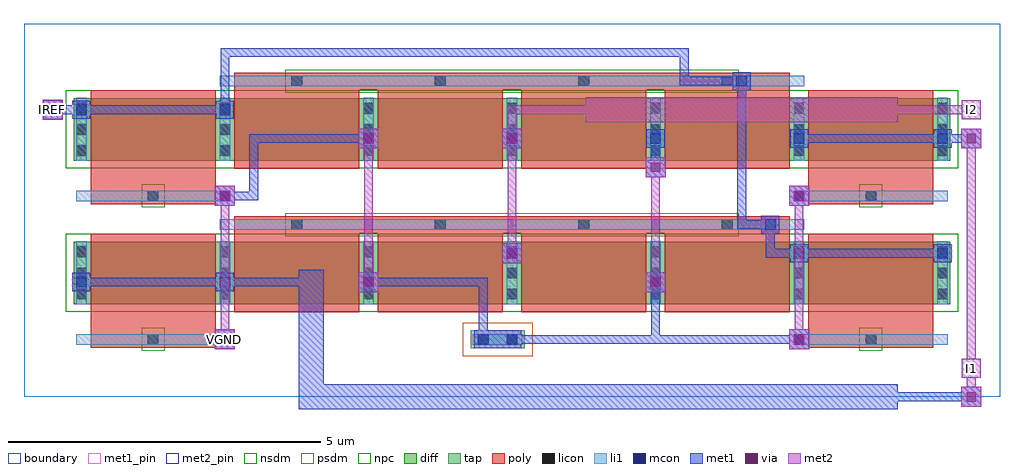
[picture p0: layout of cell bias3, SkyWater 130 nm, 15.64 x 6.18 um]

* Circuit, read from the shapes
.subckt bias3 I1 I2 IREF VGND
XM1 I1 VGND I1 VGND sky130_fd_pr__nfet_01v8 w=1 l=2 m=2
XM2 IREF VGND IREF VGND sky130_fd_pr__nfet_01v8 w=1 l=2 m=2
XM3 VGND IREF I1 VGND sky130_fd_pr__nfet_01v8 w=1 l=2 m=2
XM4 VGND IREF IREF VGND sky130_fd_pr__nfet_01v8 w=1 l=2 m=2
XM5 I2 IREF VGND VGND sky130_fd_pr__nfet_01v8 w=1 l=2 m=4
.ends

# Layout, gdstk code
import gdstk
lib = gdstk.Library(unit=1e-6, precision=1e-09)
def R(c, l, rs):  # rectangles x0, y0, x1, y1
    for r in rs: c.add(gdstk.rectangle(r[:2], r[2:], *l))
def A(c, l, x, y, w, h, nx, ny, dx, dy):  # array of equal rectangles
    R(c, l, [(x+i*dx, y+j*dy, x+i*dx+w, y+j*dy+h) for i in range(nx) for j in range(ny)])
diff = (65, 20)
tap = (65, 44)
poly = (66, 20)
licon = (66, 44)
li1 = (67, 20)
mcon = (67, 44)
met1_pin = (68, 16)
met1 = (68, 20)
via = (68, 44)
met2_pin = (69, 16)
met2 = (69, 20)
nsdm = (93, 44)
psdm = (94, 20)
npc = (95, 20)
boundary = (235, 4)

bias3 = lib.new_cell('bias3')
R(bias3, diff, [(0.795,1.485,14.845,2.485), (0.795,3.785,14.845,4.785)])
R(bias3, tap, [(7.155,0.775,8.025,1.065)])
A(bias3, poly, 3.37, 1.355, 2, 1.405, 4, 2, 2.3, 2.3)
R(bias3, poly, [(1.07,0.785,3.07,1.055), (12.57,0.785,14.57,1.055), (1.07,0.92,3.07,2.615), (12.57,0.92,14.57,2.615), (3.37,2.625,12.27,2.895), (1.07,3.085,3.07,3.355), (12.57,3.085,14.57,3.355), (1.07,3.22,3.07,4.915), (12.57,3.22,14.57,4.915), (3.37,4.925,12.27,5.195)])
A(bias3, licon, 0.835, 1.56, 0.17, 0.17, 7, 3, 2.3, 0.34)
A(bias3, licon, 4.285, 2.675, 0.17, 0.17, 4, 2, 2.3, 2.3)
A(bias3, licon, 0.835, 3.86, 0.17, 0.17, 7, 3, 2.3, 0.34)
R(bias3, licon, [(1.985,0.835,2.155,1.005), (7.275,0.835,7.445,1.005), (7.735,0.835,7.905,1.005), (13.485,0.835,13.655,1.005), (1.985,3.135,2.155,3.305), (13.485,3.135,13.655,3.305)])
A(bias3, li1, 0.835, 1.48, 0.17, 1.01, 7, 2, 2.3, 2.3)
R(bias3, li1, [(0.835,0.835,3.305,1.005), (7.195,0.835,7.985,1.005), (12.335,0.835,14.805,1.005), (3.135,2.675,12.505,2.845), (0.835,3.135,3.305,3.305), (12.335,3.135,14.805,3.305), (3.135,4.975,12.505,5.145)])
A(bias3, mcon, 0.835, 1.755, 0.17, 0.17, 3, 1, 2.3, 0)
A(bias3, mcon, 5.435, 4.055, 0.17, 0.17, 5, 1, 2.3, 0)
R(bias3, mcon, [(3.135,0.835,3.305,1.005), (7.275,0.835,7.445,1.005), (7.735,0.835,7.905,1.005), (12.335,0.835,12.505,1.005), (10.035,1.755,10.205,1.925), (7.735,2.215,7.905,2.385), (12.335,2.215,12.505,2.385), (14.635,2.215,14.805,2.385), (11.875,2.675,12.045,2.845), (3.135,3.135,3.305,3.305), (12.335,3.135,12.505,3.305), (0.835,4.515,1.005,4.685), (3.135,4.515,3.305,4.685), (11.415,4.975,11.585,5.145)])
R(bias3, met1_pin, [(3.075,0.775,3.365,1.065)])
A(bias3, met1, 0.775, 1.695, 0.29, 0.29, 3, 1, 2.3, 0)
A(bias3, met1, 5.375, 3.995, 0.29, 0.29, 5, 1, 2.3, 0)
R(bias3, met1, [(4.4,-0.2,4.8,2.04), (4.4,-0.2,14,0.2), (15.02,-0.16,15.34,0.16), (13.73,-0.07,15.25,0.07), (3.06,0.76,3.38,1.08), (12.26,0.76,12.58,1.08), (3.075,0.775,3.365,1.065), (7.215,0.775,7.965,1.065), (12.275,0.775,12.565,1.065), (7.29,0.85,7.43,1.91), (7.29,0.85,7.43,0.99), (7.29,0.85,10.19,0.99), (10.05,0.85,12.49,0.99), (10.05,0.85,10.19,1.91), (5.36,1.68,5.68,2), (9.96,1.68,10.28,2), (9.975,1.695,10.265,1.985), (0.85,1.77,3.29,1.91), (3.15,1.77,4.67,1.91), (5.45,1.77,7.43,1.91), (7.66,2.14,7.98,2.46), (7.675,2.155,7.965,2.445), (12.275,2.155,12.565,2.445), (14.575,2.155,14.865,2.445), (11.89,2.23,12.49,2.37), (11.89,2.23,12.03,2.83), (12.35,2.23,14.79,2.37), (11.815,2.615,12.105,2.905), (11.43,2.69,12.03,2.83), (11.43,2.69,11.57,5.13), (3.06,3.06,3.38,3.38), (12.26,3.06,12.58,3.38), (3.075,3.075,3.365,3.365), (12.275,3.075,12.565,3.365), (3.15,3.15,3.75,3.29), (3.61,3.15,3.75,4.21), (9.96,3.52,10.28,3.84), (10.05,3.61,10.19,4.21), (5.36,3.98,5.68,4.3), (7.66,3.98,7.98,4.3), (15.02,3.98,15.34,4.3), (3.61,4.07,5.59,4.21), (12.35,4.07,14.79,4.21), (14.65,4.07,15.25,4.21), (0.3,4.44,0.62,4.76), (0.775,4.455,1.065,4.745), (3.075,4.455,3.365,4.745), (0.39,4.53,0.99,4.67), (0.85,4.53,3.29,4.67), (3.15,4.53,3.29,5.59), (11.355,4.915,11.645,5.205), (10.51,4.99,10.65,5.59), (10.51,4.99,11.57,5.13), (3.15,5.45,10.65,5.59)])
R(bias3, via, [(15.105,-0.075,15.255,0.075), (3.145,0.845,3.295,0.995), (12.345,0.845,12.495,0.995), (5.445,1.765,5.595,1.915), (10.045,1.765,10.195,1.915), (7.745,2.225,7.895,2.375), (3.145,3.145,3.295,3.295), (12.345,3.145,12.495,3.295), (10.045,3.605,10.195,3.755), (5.445,4.065,5.595,4.215), (7.745,4.065,7.895,4.215), (15.105,4.065,15.255,4.215), (0.385,4.525,0.535,4.675)])
R(bias3, met2_pin, [(15.03,0.31,15.33,0.61), (0.31,4.45,0.61,4.75), (15.03,4.45,15.33,4.75)])
R(bias3, met2, [(15.02,-0.16,15.34,0.16), (15.11,-0.07,15.25,0.53), (15.03,0.31,15.33,0.61), (15.11,0.39,15.25,0.53), (15.11,0.39,15.25,4.21), (3.06,0.76,3.38,1.08), (12.26,0.76,12.58,1.08), (3.15,0.85,3.29,3.29), (12.35,0.85,12.49,3.29), (5.36,1.68,5.68,2), (9.96,1.68,10.28,2), (5.45,1.77,5.59,4.21), (10.05,1.77,10.19,3.75), (7.66,2.14,7.98,2.46), (7.75,2.23,7.89,4.21), (3.06,3.06,3.38,3.38), (12.26,3.06,12.58,3.38), (9.96,3.52,10.28,3.84), (5.36,3.98,5.68,4.3), (7.66,3.98,7.98,4.3), (15.02,3.98,15.34,4.3), (7.75,4.07,7.89,4.67), (9,4.4,14,4.8), (0.3,4.44,0.62,4.76), (0.31,4.45,0.61,4.75), (15.03,4.45,15.33,4.75), (0.39,4.53,0.53,4.67), (7.75,4.53,9.27,4.67), (13.73,4.53,15.25,4.67), (15.11,4.53,15.25,4.67)])
R(bias3, nsdm, [(0.67,1.36,14.97,2.61), (0.67,3.66,14.97,4.91)])
R(bias3, psdm, [(7.03,0.65,8.15,1.19)])
R(bias3, npc, [(1.885,0.735,2.255,1.105), (13.385,0.735,13.755,1.105), (4.185,2.575,11.455,2.945), (1.885,3.035,2.255,3.405), (13.385,3.035,13.755,3.405), (4.185,4.875,11.455,5.245)])
R(bias3, boundary, [(0,0,15.64,5.98)])
bias3.add(gdstk.Label('VGND', (3.22,0.92), layer=68, texttype=5))
bias3.add(gdstk.Label('IREF', (0.46,4.6), layer=69, texttype=5))
bias3.add(gdstk.Label('I1', (15.18,0.46), layer=69, texttype=5))
bias3.add(gdstk.Label('I2', (15.18,4.6), layer=69, texttype=5))
bias3.add(gdstk.Label('VGND', (3.22,0.92), layer=68, texttype=16))
bias3.add(gdstk.Label('IREF', (0.46,4.6), layer=69, texttype=16))
bias3.add(gdstk.Label('I1', (15.18,0.46), layer=69, texttype=16))
bias3.add(gdstk.Label('I2', (15.18,4.6), layer=69, texttype=16))

lib.write_gds('bias3.gds')
